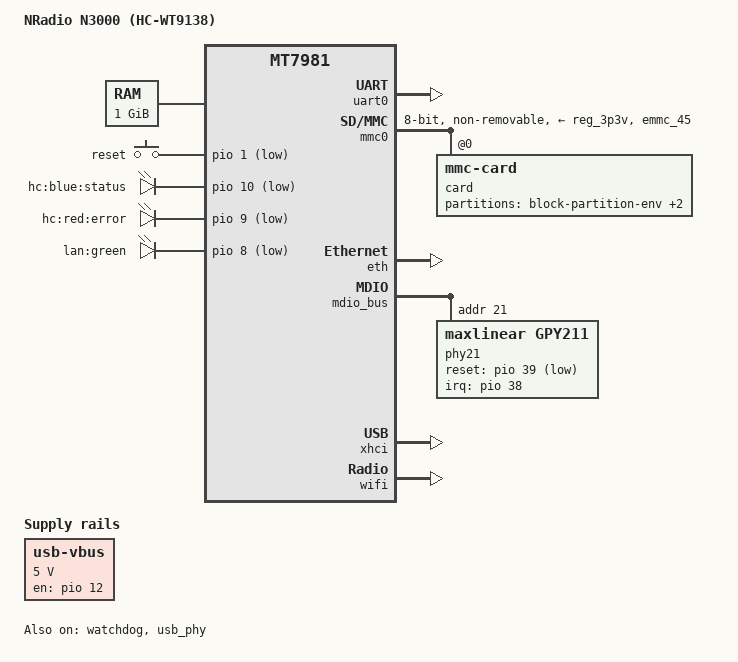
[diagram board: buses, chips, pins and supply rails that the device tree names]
/dts-v1/;

#include <dt-bindings/gpio/gpio.h>
#include <dt-bindings/input/input.h>

#include "mt7981b.dtsi"

/ {
	model = "NRadio N3000 (HC-WT9138)";
	compatible = "nradio,HC-WT9138", "mediatek,mt7981";

	aliases {
		ethernet0 = &gmac0;
		led-boot = &led_error;
		led-failsafe = &led_error;
		led-running = &led_status;
		led-upgrade = &led_error;
		serial0 = &uart0;
	};

	chosen {
		stdout-path = "serial0:115200n8";
		bootargs = "console=ttyS0,115200n1 root=PARTLABEL=rootfs_2nd rootwait";
	};

	memory@40000000 {
		device_type = "memory";
		reg = <0 0x40000000 0 0x40000000>;
	};

	gpio-keys {
		compatible = "gpio-keys";

		reset {
			label = "reset";
			linux,code = <KEY_RESTART>;
			gpios = <&pio 1 GPIO_ACTIVE_LOW>;
			debounce-interval = <60>;
		};
	};

	gpio-leds {
		compatible = "gpio-leds";

		led_status: status {
			label = "hc:blue:status";
			gpios = <&pio 10 GPIO_ACTIVE_LOW>;
		};

		led_error: error {
			label = "hc:red:error";
			gpios = <&pio 9 GPIO_ACTIVE_LOW>;
		};

		led_lan: lan {
			label = "lan:green";
			gpios = <&pio 8 GPIO_ACTIVE_LOW>;
		};
	};

	regulator-usb {
		compatible = "regulator-fixed";
		regulator-name = "usb-vbus";
		regulator-min-microvolt = <5000000>;
		regulator-max-microvolt = <5000000>;
		gpio = <&pio 12 GPIO_ACTIVE_HIGH>;
		enable-active-high;
		regulator-boot-on;
	};
};

&uart0 {
	status = "okay";
};

&watchdog {
	status = "okay";
};

&mmc0 {
	#address-cells = <1>;
	#size-cells = <0>;
	pinctrl-names = "default", "state_uhs";
	pinctrl-0 = <&mmc0_pins_default>;
	pinctrl-1 = <&mmc0_pins_uhs>;
	bus-width = <8>;
	max-frequency = <52000000>;
	cap-mmc-highspeed;
	vmmc-supply = <&reg_3p3v>;
	no-sd;
	no-sdio;
	non-removable;
	status = "okay";

	card@0 {
		compatible = "mmc-card";
		reg = <0>;

		block {
			compatible = "block-device";

			partitions {
				block-partition-env {
					partname = "u-boot-env";

					nvmem-layout {
						compatible = "u-boot,env";
					};
				};

				block-partition-factory {
					partname = "factory";

					nvmem-layout {
						compatible = "fixed-layout";
						#address-cells = <1>;
						#size-cells = <1>;

						eeprom_factory_0: eeprom@0 {
							reg = <0x0 0x1000>;
						};
					};
				};

				block-partition-bdinfo {
					partname = "bdinfo";

					nvmem-layout {
						compatible = "fixed-layout";
						#address-cells = <1>;
						#size-cells = <1>;

						macaddr_bdinfo_9: macaddr@9 {
							compatible = "mac-base";
							reg = <0x9 0x6>;
							#nvmem-cell-cells = <1>;
						};
					};
				};
			};
		};
	};
};

&pio {
	mmc0_pins_default: mmc0-pins-default {
		mux {
			function = "flash";
			groups = "emmc_45";
		};
	};

	mmc0_pins_uhs: mmc0-pins-uhs {
		mux {
			function = "flash";
			groups = "emmc_45";
		};
	};
};

&eth {
	pinctrl-names = "default";
	pinctrl-0 = <&mdio_pins>;
	status = "okay";

	gmac0: mac@0 {
		compatible = "mediatek,eth-mac";
		reg = <0>;
		phy-mode = "2500base-x";
		phy-handle = <&phy21>;
		nvmem-cells = <&macaddr_bdinfo_9 1>;
		nvmem-cell-names = "mac-address";
	};

	gmac1: mac@1 {
		compatible = "mediatek,eth-mac";
		reg = <1>;
		phy-mode = "gmii";
		phy-handle = <&int_gbe_phy>;
		nvmem-cells = <&macaddr_bdinfo_9 0>;
		nvmem-cell-names = "mac-address";
	};
};

&mdio_bus {
	phy21: ethernet-phy@21 {
		compatible = "maxlinear,gpy211", "ethernet-phy-ieee802.3-c45";
		reg = <21>;
		interrupt-parent = <&pio>;
		interrupts = <38 IRQ_TYPE_LEVEL_LOW>;
		reset-gpios = <&pio 39 GPIO_ACTIVE_LOW>;
		reset-assert-us = <600>;
		reset-deassert-us = <20000>;
		phy-mode = "2500base-x";
		full-duplex;
		pause;
	};
};

&usb_phy {
	status = "okay";
};

&xhci {
	status = "okay";
};

&wifi {
	nvmem-cells = <&eeprom_factory_0>;
	nvmem-cell-names = "eeprom";
	status = "okay";
};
